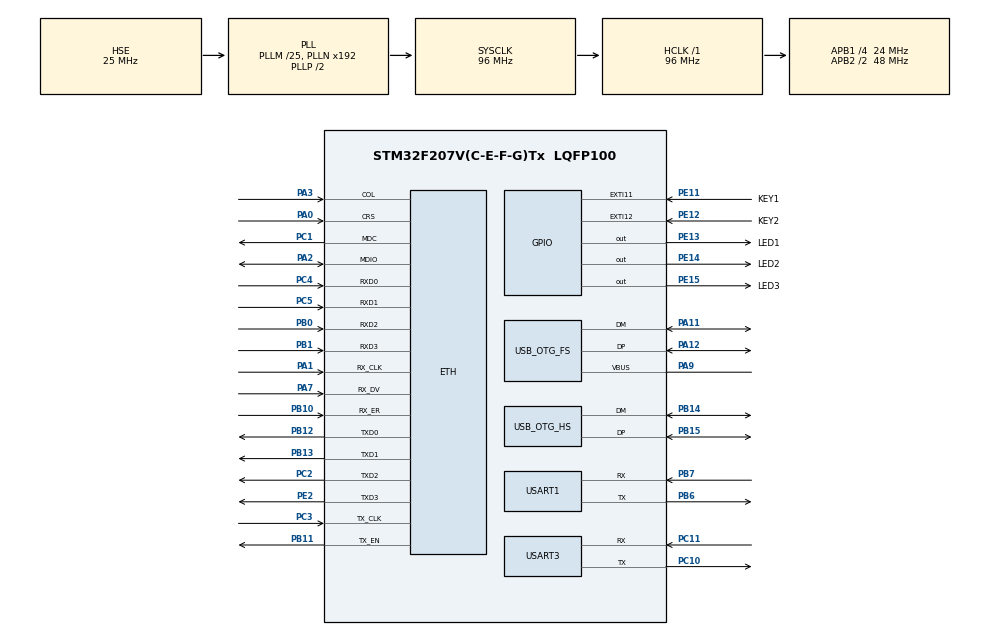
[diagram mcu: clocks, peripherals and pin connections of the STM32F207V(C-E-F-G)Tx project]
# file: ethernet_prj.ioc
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ETH.MediaInterface=ETH_MEDIA_INTERFACE_MII
ETH.PHY_Name_MII=DP83848_PHY_ADDRESS
ETH.PhyAddress=3
FATFS._MAX_SS=4096
FATFS._USE_LFN=1
LWIP.GATEWAY_ADDRESS=192.168.001.001
LWIP.IP_ADDRESS=192.168.001.200
LWIP.LWIP_DHCP=0
LWIP.LWIP_HTTPD=1
LWIP.NETMASK_ADDRESS=255.255.255.255
LWIP.Version=v2.0.3_Cube
Mcu.Family=STM32F2
Mcu.Name=STM32F207V(C-E-F-G)Tx
Mcu.Package=LQFP100
NVIC.EXTI15_10_IRQn=true\:0\:0\:false\:false\:true\:true\:true\:true
NVIC.OTG_FS_IRQn=true\:0\:0\:false\:false\:true\:false\:true\:true
NVIC.OTG_HS_IRQn=true\:0\:0\:false\:false\:true\:false\:true\:true
NVIC.PriorityGroup=NVIC_PRIORITYGROUP_4
PA0-WKUP.Mode=MII
PA0-WKUP.Signal=ETH_CRS
PA1.Mode=MII
PA1.Signal=ETH_RX_CLK
PA11.Mode=Device_Only
PA11.Signal=USB_OTG_FS_DM
PA12.Mode=Device_Only
PA12.Signal=USB_OTG_FS_DP
PA2.Mode=MII
PA2.Signal=ETH_MDIO
PA3.Mode=MII
PA3.Signal=ETH_COL
PA7.Mode=MII
PA7.Signal=ETH_RX_DV
PA9.Mode=Activate_VBUS
PA9.Signal=USB_OTG_FS_VBUS
PB0.Mode=MII
PB0.Signal=ETH_RXD2
PB1.Mode=MII
PB1.Signal=ETH_RXD3
PB10.Mode=Activate Rx Err signal
PB10.Signal=ETH_RX_ER
PB11.Mode=MII
PB11.Signal=ETH_TX_EN
PB12.Mode=MII
PB12.Signal=ETH_TXD0
PB13.Mode=MII
PB13.Signal=ETH_TXD1
PB14.Mode=Host_FS
PB14.Signal=USB_OTG_HS_DM
PB15.Mode=Host_FS
PB15.Signal=USB_OTG_HS_DP
PB5.Signal=ETH_PPS_OUT
PB6.Mode=Asynchronous
PB6.Signal=USART1_TX
PB7.Mode=Asynchronous
PB7.Signal=USART1_RX
PC1.Mode=MII
PC1.Signal=ETH_MDC
PC10.Mode=Asynchronous
PC10.Signal=USART3_TX
PC11.Mode=Asynchronous
PC11.Signal=USART3_RX
PC2.Mode=MII
PC2.Signal=ETH_TXD2
PC3.Mode=MII
PC3.Signal=ETH_TX_CLK
PC4.Mode=MII
PC4.Signal=ETH_RXD0
PC5.Mode=MII
PC5.Signal=ETH_RXD1
PE11.GPIO_Label=KEY1
PE11.Signal=GPXTI11
PE12.GPIO_Label=KEY2
PE12.GPIO_ModeDefaultEXTI=GPIO_MODE_IT_FALLING
PE12.Signal=GPXTI12
PE13.GPIO_Label=LED1
PE13.PinState=GPIO_PIN_SET
PE13.Signal=GPIO_Output
PE14.GPIO_Label=LED2
PE14.PinState=GPIO_PIN_SET
PE14.Signal=GPIO_Output
PE15.GPIO_Label=LED3
PE15.PinState=GPIO_PIN_SET
PE15.Signal=GPIO_Output
PE2.Mode=MII
PE2.Signal=ETH_TXD3
PH0-OSC_IN.Mode=HSE-External-Oscillator
PH0-OSC_IN.Signal=RCC_OSC_IN
PH1-OSC_OUT.Mode=HSE-External-Oscillator
PH1-OSC_OUT.Signal=RCC_OSC_OUT
ProjectManager.HeapSize=0x200
ProjectManager.StackSize=0x400
ProjectManager.TargetToolchain=STM32CubeIDE
RCC.48MHZClocksFreq_Value=48000000
RCC.AHBFreq_Value=96000000
RCC.APB1CLKDivider=RCC_HCLK_DIV4
RCC.APB1Freq_Value=24000000
RCC.APB1TimFreq_Value=48000000
RCC.APB2CLKDivider=RCC_HCLK_DIV2
RCC.APB2Freq_Value=48000000
RCC.APB2TimFreq_Value=96000000
RCC.CortexFreq_Value=96000000
RCC.HCLKFreq_Value=96000000
RCC.HSE_VALUE=25000000
RCC.HSI_VALUE=16000000
RCC.LSE_VALUE=32768
RCC.PLLM=25
RCC.PLLSourceVirtual=RCC_PLLSOURCE_HSE
RCC.SYSCLKFreq_VALUE=96000000
RCC.SYSCLKSource=RCC_SYSCLKSOURCE_PLLCLK
RCC.VCOOutputFreq_Value=192000000
USART1.VirtualMode=VM_ASYNC
USART3.VirtualMode=VM_ASYNC
USB_DEVICE.CLASS_NAME_FS=CDC
USB_DEVICE.VirtualMode-CDC_FS=Cdc
USB_DEVICE.VirtualModeFS=Cdc_FS
USB_HOST.USBH_HandleTypeDef-MSC_HS=hUsbHostHS
USB_HOST.VirtualModeHS=Msc
USB_OTG_FS.VirtualMode=Device_Only
USB_OTG_HS.VirtualMode-Host_FS=Host_FS
VP_FATFS_VS_USB.Mode=USB
VP_LWIP_VS_Enabled.Mode=Enabled
VP_USB_DEVICE_VS_USB_DEVICE_CDC_FS.Mode=CDC_FS
VP_USB_HOST_VS_USB_HOST_MSC_HS.Mode=MSC_HS
board=custom

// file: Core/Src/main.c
/* USER CODE BEGIN Header */
/**
  ******************************************************************************
  * @file           : main.c
  * @brief          : Main program body
  ******************************************************************************
  * @attention
  *
  * Copyright (c) 2023 STMicroelectronics.
  * All rights reserved.
  *
  * This software is licensed under terms that can be found in the LICENSE file
  * in the root directory of this software component.
  * If no LICENSE file comes with this software, it is provided AS-IS.
  *
  ******************************************************************************
  */
/* USER CODE END Header */
#include "main.h"
#include "fatfs.h"
#include "lwip.h"
#include "usb_device.h"
#include "usb_host.h"

/* USER CODE BEGIN Includes */
#include "lwip/apps/httpd.h"
/* USER CODE END Includes */

UART_HandleTypeDef huart1;
UART_HandleTypeDef huart3;

void SystemClock_Config(void);
static void MX_GPIO_Init(void);
static void MX_USART1_UART_Init(void);
static void MX_USART3_UART_Init(void);
void MX_USB_HOST_Process(void);

/* USER CODE BEGIN 0 */
#define hUART           huart3
int _write( int32_t file , uint8_t *ptr , int32_t len )
{
    /* Implement your write code here, this is used by puts and printf for example */
    for ( int16_t i = 0 ; i < len ; ++i )
    {
        HAL_UART_Transmit( &hUART, ptr++, 1, 100);
    }
    return len;
}

void HAL_GPIO_EXTI_Callback(uint16_t GPIO_Pin)
{
	if(GPIO_Pin == KEY1_Pin)
	{
		if(HAL_GPIO_ReadPin(KEY1_GPIO_Port, KEY1_Pin) == GPIO_PIN_RESET)
		{
			HAL_GPIO_TogglePin(LED1_GPIO_Port, LED1_Pin );
		}
	}
	else if(GPIO_Pin == KEY2_Pin)
	{
		if(HAL_GPIO_ReadPin(KEY2_GPIO_Port, KEY2_Pin) == GPIO_PIN_RESET)
		{
			HAL_GPIO_TogglePin(LED2_GPIO_Port, LED2_Pin );
		}
	}
}
/* USER CODE END 0 */

int main(void)
{

  /* MCU Configuration--------------------------------------------------------*/

  /* Reset of all peripherals, Initializes the Flash interface and the Systick. */
  HAL_Init();

  /* Configure the system clock */
  SystemClock_Config();

  /* Initialize all configured peripherals */
  MX_GPIO_Init();
  MX_USART1_UART_Init();
  MX_USART3_UART_Init();
  MX_USB_DEVICE_Init();
  MX_FATFS_Init();
  MX_USB_HOST_Init();
  MX_LWIP_Init();
  /* USER CODE BEGIN 2 */
  printf("Ethernet test\r\n");
  httpd_init();
  /* USER CODE END 2 */

  /* Infinite loop */
  /* USER CODE BEGIN WHILE */
  while (1)
  {
	MX_LWIP_Process();
    /* USER CODE END WHILE */
    MX_USB_HOST_Process();

  }
}

void SystemClock_Config(void)
{
  RCC_OscInitTypeDef RCC_OscInitStruct = {0};
  RCC_ClkInitTypeDef RCC_ClkInitStruct = {0};

  /** Initializes the RCC Oscillators according to the specified parameters
  * in the RCC_OscInitTypeDef structure.
  */
  RCC_OscInitStruct.OscillatorType = RCC_OSCILLATORTYPE_HSE;
  RCC_OscInitStruct.HSEState = RCC_HSE_ON;
  RCC_OscInitStruct.PLL.PLLState = RCC_PLL_ON;
  RCC_OscInitStruct.PLL.PLLSource = RCC_PLLSOURCE_HSE;
  RCC_OscInitStruct.PLL.PLLM = 25;
  RCC_OscInitStruct.PLL.PLLN = 192;
  RCC_OscInitStruct.PLL.PLLP = RCC_PLLP_DIV2;
  RCC_OscInitStruct.PLL.PLLQ = 4;
  if (HAL_RCC_OscConfig(&RCC_OscInitStruct) != HAL_OK)
  {
    Error_Handler();
  }

  /** Initializes the CPU, AHB and APB buses clocks
  */
  RCC_ClkInitStruct.ClockType = RCC_CLOCKTYPE_HCLK|RCC_CLOCKTYPE_SYSCLK
                              |RCC_CLOCKTYPE_PCLK1|RCC_CLOCKTYPE_PCLK2;
  RCC_ClkInitStruct.SYSCLKSource = RCC_SYSCLKSOURCE_PLLCLK;
  RCC_ClkInitStruct.AHBCLKDivider = RCC_SYSCLK_DIV1;
  RCC_ClkInitStruct.APB1CLKDivider = RCC_HCLK_DIV4;
  RCC_ClkInitStruct.APB2CLKDivider = RCC_HCLK_DIV2;

  if (HAL_RCC_ClockConfig(&RCC_ClkInitStruct, FLASH_LATENCY_3) != HAL_OK)
  {
    Error_Handler();
  }
}

static void MX_USART1_UART_Init(void)
{

  huart1.Instance = USART1;
  huart1.Init.BaudRate = 115200;
  huart1.Init.WordLength = UART_WORDLENGTH_8B;
  huart1.Init.StopBits = UART_STOPBITS_1;
  huart1.Init.Parity = UART_PARITY_NONE;
  huart1.Init.Mode = UART_MODE_TX_RX;
  huart1.Init.HwFlowCtl = UART_HWCONTROL_NONE;
  huart1.Init.OverSampling = UART_OVERSAMPLING_16;
  if (HAL_UART_Init(&huart1) != HAL_OK)
  {
    Error_Handler();
  }

}

static void MX_USART3_UART_Init(void)
{

  huart3.Instance = USART3;
  huart3.Init.BaudRate = 115200;
  huart3.Init.WordLength = UART_WORDLENGTH_8B;
  huart3.Init.StopBits = UART_STOPBITS_1;
  huart3.Init.Parity = UART_PARITY_NONE;
  huart3.Init.Mode = UART_MODE_TX_RX;
  huart3.Init.HwFlowCtl = UART_HWCONTROL_NONE;
  huart3.Init.OverSampling = UART_OVERSAMPLING_16;
  if (HAL_UART_Init(&huart3) != HAL_OK)
  {
    Error_Handler();
  }

}

static void MX_GPIO_Init(void)
{
  GPIO_InitTypeDef GPIO_InitStruct = {0};

  /* GPIO Ports Clock Enable */
  __HAL_RCC_GPIOE_CLK_ENABLE();
  __HAL_RCC_GPIOH_CLK_ENABLE();
  __HAL_RCC_GPIOC_CLK_ENABLE();
  __HAL_RCC_GPIOA_CLK_ENABLE();
  __HAL_RCC_GPIOB_CLK_ENABLE();

  /*Configure GPIO pin Output Level */
  HAL_GPIO_WritePin(GPIOE, LED1_Pin|LED2_Pin|LED3_Pin, GPIO_PIN_SET);

  /*Configure GPIO pin : KEY1_Pin */
  GPIO_InitStruct.Pin = KEY1_Pin;
  GPIO_InitStruct.Mode = GPIO_MODE_IT_RISING;
  GPIO_InitStruct.Pull = GPIO_NOPULL;
  HAL_GPIO_Init(KEY1_GPIO_Port, &GPIO_InitStruct);

  /*Configure GPIO pin : KEY2_Pin */
  GPIO_InitStruct.Pin = KEY2_Pin;
  GPIO_InitStruct.Mode = GPIO_MODE_IT_FALLING;
  GPIO_InitStruct.Pull = GPIO_NOPULL;
  HAL_GPIO_Init(KEY2_GPIO_Port, &GPIO_InitStruct);

  /*Configure GPIO pins : LED1_Pin LED2_Pin LED3_Pin */
  GPIO_InitStruct.Pin = LED1_Pin|LED2_Pin|LED3_Pin;
  GPIO_InitStruct.Mode = GPIO_MODE_OUTPUT_PP;
  GPIO_InitStruct.Pull = GPIO_NOPULL;
  GPIO_InitStruct.Speed = GPIO_SPEED_FREQ_LOW;
  HAL_GPIO_Init(GPIOE, &GPIO_InitStruct);

  /* EXTI interrupt init*/
  HAL_NVIC_SetPriority(EXTI15_10_IRQn, 0, 0);
  HAL_NVIC_EnableIRQ(EXTI15_10_IRQn);

}

void Error_Handler(void)
{
  __disable_irq();
  while (1)
  {
  }
}
